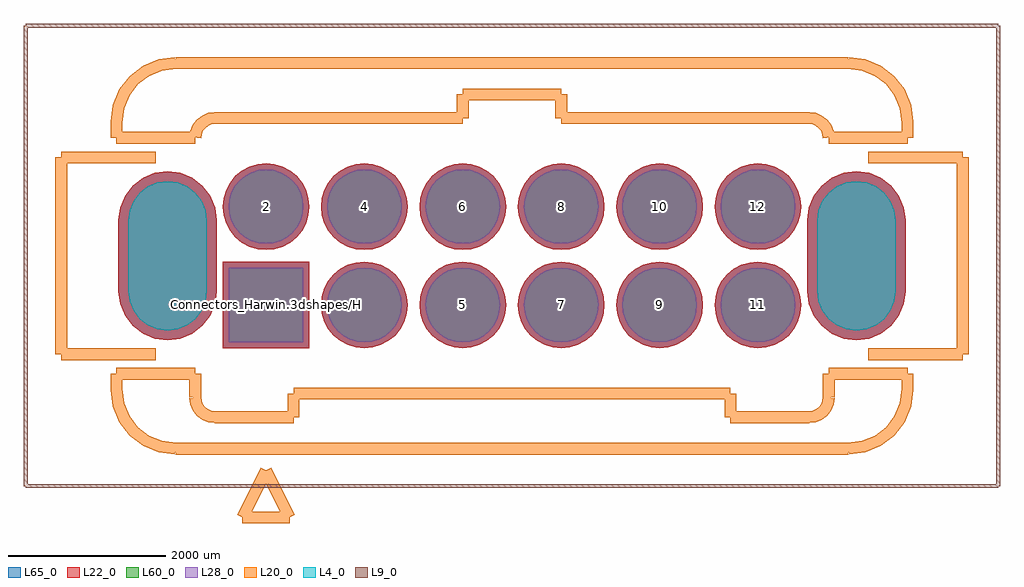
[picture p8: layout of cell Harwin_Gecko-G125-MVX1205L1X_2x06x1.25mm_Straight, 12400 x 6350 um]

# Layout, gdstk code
import gdstk
lib = gdstk.Library(unit=1e-6, precision=1e-09)
def R(c, l, rs):  # rectangles x0, y0, x1, y1
    for r in rs: c.add(gdstk.rectangle(r[:2], r[2:], *l))
def P(c, l, *ps):  # polygons
    for p in ps: c.add(gdstk.Polygon(p, *l))
L4_0 = (4, 0)
L9_0 = (9, 0)
L20_0 = (20, 0)
L22_0 = (22, 0)
L28_0 = (28, 0)
L60_0 = (60, 0)
L65_0 = (65, 0)

harwin_gecko_g125_mvx120 = lib.new_cell('Harwin_Gecko-G125-MVX1205L1X_2x06x1.25mm_Straight')
P(harwin_gecko_g125_mvx120, L4_0, [(7500,-325),(7629.41,-307.963),(7750,-258.013),(7853.553,-178.553),(7933.013,-75),(7982.963,45.59),(8000,175),(8000,1075),(7982.963,1204.41),(7933.013,1325),(7853.553,1428.553),(7750,1508.013),(7629.41,1557.963),(7500,1575),(7370.59,1557.963),(7250,1508.013),(7146.447,1428.553),(7066.987,1325),(7017.037,1204.41),(7000,1075),(7000,175),(7017.037,45.59),(7066.987,-75),(7146.447,-178.553),(7250,-258.013),(7370.59,-307.963)],
  [(-1250,-325),(-1120.59,-307.963),(-1000,-258.013),(-896.447,-178.553),(-816.987,-75),(-767.037,45.59),(-750,175),(-750,1075),(-767.037,1204.41),(-816.987,1325),(-896.447,1428.553),(-1000,1508.013),(-1120.59,1557.963),(-1250,1575),(-1379.41,1557.963),(-1500,1508.013),(-1603.553,1428.553),(-1683.013,1325),(-1732.963,1204.41),(-1750,1075),(-1750,175),(-1732.963,45.59),(-1683.013,-75),(-1603.553,-178.553),(-1500,-258.013),(-1379.41,-307.963)])
R(harwin_gecko_g125_mvx120, L22_0, [(-550,-550,550,550)])
P(harwin_gecko_g125_mvx120, L22_0, [(7500,-450),(7661.762,-428.704),(7812.5,-366.266),(7941.942,-266.942),(8041.266,-137.5),(8103.704,13.238),(8125,175),(8125,1075),(8103.704,1236.762),(8041.266,1387.5),(7941.942,1516.942),(7812.5,1616.266),(7661.762,1678.704),(7500,1700),(7338.238,1678.704),(7187.5,1616.266),(7058.058,1516.942),(6958.734,1387.5),(6896.296,1236.762),(6875,1075),(6875,175),(6896.296,13.238),(6958.734,-137.5),(7058.058,-266.942),(7187.5,-366.266),(7338.238,-428.704)],
  [(-1250,-450),(-1088.238,-428.704),(-937.5,-366.266),(-808.058,-266.942),(-708.734,-137.5),(-646.296,13.238),(-625,175),(-625,1075),(-646.296,1236.762),(-708.734,1387.5),(-808.058,1516.942),(-937.5,1616.266),(-1088.238,1678.704),(-1250,1700),(-1411.762,1678.704),(-1562.5,1616.266),(-1691.942,1516.942),(-1791.266,1387.5),(-1853.704,1236.762),(-1875,1075),(-1875,175),(-1853.704,13.238),(-1791.266,-137.5),(-1691.942,-266.942),(-1562.5,-366.266),(-1411.762,-428.704)],
  [(6800,1250),(6789.432,1357.3),(6758.134,1460.476),(6707.308,1555.564),(6638.909,1638.909),(6555.564,1707.308),(6460.476,1758.134),(6357.3,1789.432),(6250,1800),(6142.7,1789.432),(6039.524,1758.134),(5944.436,1707.308),(5861.091,1638.909),(5792.692,1555.564),(5741.866,1460.476),(5710.568,1357.3),(5700,1250),(5710.568,1142.7),(5741.866,1039.524),(5792.692,944.436),(5861.091,861.091),(5944.436,792.692),(6039.524,741.866),(6142.7,710.568),(6250,700),(6357.3,710.568),(6460.476,741.866),(6555.564,792.692),(6638.909,861.091),(6707.308,944.436),(6758.134,1039.524),(6789.432,1142.7)],
  [(5550,1250),(5539.432,1357.3),(5508.134,1460.476),(5457.308,1555.564),(5388.909,1638.909),(5305.564,1707.308),(5210.476,1758.134),(5107.3,1789.432),(5000,1800),(4892.7,1789.432),(4789.524,1758.134),(4694.436,1707.308),(4611.091,1638.909),(4542.692,1555.564),(4491.866,1460.476),(4460.568,1357.3),(4450,1250),(4460.568,1142.7),(4491.866,1039.524),(4542.692,944.436),(4611.091,861.091),(4694.436,792.692),(4789.524,741.866),(4892.7,710.568),(5000,700),(5107.3,710.568),(5210.476,741.866),(5305.564,792.692),(5388.909,861.091),(5457.308,944.436),(5508.134,1039.524),(5539.432,1142.7)],
  [(4300,1250),(4289.432,1357.3),(4258.134,1460.476),(4207.308,1555.564),(4138.909,1638.909),(4055.564,1707.308),(3960.476,1758.134),(3857.3,1789.432),(3750,1800),(3642.7,1789.432),(3539.524,1758.134),(3444.436,1707.308),(3361.091,1638.909),(3292.692,1555.564),(3241.866,1460.476),(3210.568,1357.3),(3200,1250),(3210.568,1142.7),(3241.866,1039.524),(3292.692,944.436),(3361.091,861.091),(3444.436,792.692),(3539.524,741.866),(3642.7,710.568),(3750,700),(3857.3,710.568),(3960.476,741.866),(4055.564,792.692),(4138.909,861.091),(4207.308,944.436),(4258.134,1039.524),(4289.432,1142.7)],
  [(3050,1250),(3039.432,1357.3),(3008.134,1460.476),(2957.308,1555.564),(2888.909,1638.909),(2805.564,1707.308),(2710.476,1758.134),(2607.3,1789.432),(2500,1800),(2392.7,1789.432),(2289.524,1758.134),(2194.436,1707.308),(2111.091,1638.909),(2042.692,1555.564),(1991.866,1460.476),(1960.568,1357.3),(1950,1250),(1960.568,1142.7),(1991.866,1039.524),(2042.692,944.436),(2111.091,861.091),(2194.436,792.692),(2289.524,741.866),(2392.7,710.568),(2500,700),(2607.3,710.568),(2710.476,741.866),(2805.564,792.692),(2888.909,861.091),(2957.308,944.436),(3008.134,1039.524),(3039.432,1142.7)],
  [(1800,1250),(1789.432,1357.3),(1758.134,1460.476),(1707.308,1555.564),(1638.909,1638.909),(1555.564,1707.308),(1460.476,1758.134),(1357.3,1789.432),(1250,1800),(1142.7,1789.432),(1039.524,1758.134),(944.436,1707.308),(861.091,1638.909),(792.692,1555.564),(741.866,1460.476),(710.568,1357.3),(700,1250),(710.568,1142.7),(741.866,1039.524),(792.692,944.436),(861.091,861.091),(944.436,792.692),(1039.524,741.866),(1142.7,710.568),(1250,700),(1357.3,710.568),(1460.476,741.866),(1555.564,792.692),(1638.909,861.091),(1707.308,944.436),(1758.134,1039.524),(1789.432,1142.7)],
  [(550,1250),(539.432,1357.3),(508.134,1460.476),(457.308,1555.564),(388.909,1638.909),(305.564,1707.308),(210.476,1758.134),(107.3,1789.432),(0,1800),(-107.3,1789.432),(-210.476,1758.134),(-305.564,1707.308),(-388.909,1638.909),(-457.308,1555.564),(-508.134,1460.476),(-539.432,1357.3),(-550,1250),(-539.432,1142.7),(-508.134,1039.524),(-457.308,944.436),(-388.909,861.091),(-305.564,792.692),(-210.476,741.866),(-107.3,710.568),(0,700),(107.3,710.568),(210.476,741.866),(305.564,792.692),(388.909,861.091),(457.308,944.436),(508.134,1039.524),(539.432,1142.7)],
  [(6800,0),(6789.432,107.3),(6758.134,210.476),(6707.308,305.564),(6638.909,388.909),(6555.564,457.308),(6460.476,508.134),(6357.3,539.432),(6250,550),(6142.7,539.432),(6039.524,508.134),(5944.436,457.308),(5861.091,388.909),(5792.692,305.564),(5741.866,210.476),(5710.568,107.3),(5700,0),(5710.568,-107.3),(5741.866,-210.476),(5792.692,-305.564),(5861.091,-388.909),(5944.436,-457.308),(6039.524,-508.134),(6142.7,-539.432),(6250,-550),(6357.3,-539.432),(6460.476,-508.134),(6555.564,-457.308),(6638.909,-388.909),(6707.308,-305.564),(6758.134,-210.476),(6789.432,-107.3)],
  [(5550,0),(5539.432,107.3),(5508.134,210.476),(5457.308,305.564),(5388.909,388.909),(5305.564,457.308),(5210.476,508.134),(5107.3,539.432),(5000,550),(4892.7,539.432),(4789.524,508.134),(4694.436,457.308),(4611.091,388.909),(4542.692,305.564),(4491.866,210.476),(4460.568,107.3),(4450,0),(4460.568,-107.3),(4491.866,-210.476),(4542.692,-305.564),(4611.091,-388.909),(4694.436,-457.308),(4789.524,-508.134),(4892.7,-539.432),(5000,-550),(5107.3,-539.432),(5210.476,-508.134),(5305.564,-457.308),(5388.909,-388.909),(5457.308,-305.564),(5508.134,-210.476),(5539.432,-107.3)],
  [(4300,0),(4289.432,107.3),(4258.134,210.476),(4207.308,305.564),(4138.909,388.909),(4055.564,457.308),(3960.476,508.134),(3857.3,539.432),(3750,550),(3642.7,539.432),(3539.524,508.134),(3444.436,457.308),(3361.091,388.909),(3292.692,305.564),(3241.866,210.476),(3210.568,107.3),(3200,0),(3210.568,-107.3),(3241.866,-210.476),(3292.692,-305.564),(3361.091,-388.909),(3444.436,-457.308),(3539.524,-508.134),(3642.7,-539.432),(3750,-550),(3857.3,-539.432),(3960.476,-508.134),(4055.564,-457.308),(4138.909,-388.909),(4207.308,-305.564),(4258.134,-210.476),(4289.432,-107.3)],
  [(3050,0),(3039.432,107.3),(3008.134,210.476),(2957.308,305.564),(2888.909,388.909),(2805.564,457.308),(2710.476,508.134),(2607.3,539.432),(2500,550),(2392.7,539.432),(2289.524,508.134),(2194.436,457.308),(2111.091,388.909),(2042.692,305.564),(1991.866,210.476),(1960.568,107.3),(1950,0),(1960.568,-107.3),(1991.866,-210.476),(2042.692,-305.564),(2111.091,-388.909),(2194.436,-457.308),(2289.524,-508.134),(2392.7,-539.432),(2500,-550),(2607.3,-539.432),(2710.476,-508.134),(2805.564,-457.308),(2888.909,-388.909),(2957.308,-305.564),(3008.134,-210.476),(3039.432,-107.3)],
  [(1800,0),(1789.432,107.3),(1758.134,210.476),(1707.308,305.564),(1638.909,388.909),(1555.564,457.308),(1460.476,508.134),(1357.3,539.432),(1250,550),(1142.7,539.432),(1039.524,508.134),(944.436,457.308),(861.091,388.909),(792.692,305.564),(741.866,210.476),(710.568,107.3),(700,0),(710.568,-107.3),(741.866,-210.476),(792.692,-305.564),(861.091,-388.909),(944.436,-457.308),(1039.524,-508.134),(1142.7,-539.432),(1250,-550),(1357.3,-539.432),(1460.476,-508.134),(1555.564,-457.308),(1638.909,-388.909),(1707.308,-305.564),(1758.134,-210.476),(1789.432,-107.3)])
R(harwin_gecko_g125_mvx120, L28_0, [(-475,-475,475,475)])
P(harwin_gecko_g125_mvx120, L28_0, [(6725,1250),(6715.873,1342.668),(6688.843,1431.775),(6644.948,1513.896),(6585.876,1585.876),(6513.896,1644.948),(6431.775,1688.843),(6342.668,1715.873),(6250,1725),(6157.332,1715.873),(6068.225,1688.843),(5986.104,1644.948),(5914.124,1585.876),(5855.052,1513.896),(5811.157,1431.775),(5784.127,1342.668),(5775,1250),(5784.127,1157.332),(5811.157,1068.225),(5855.052,986.104),(5914.124,914.124),(5986.104,855.052),(6068.225,811.157),(6157.332,784.127),(6250,775),(6342.668,784.127),(6431.775,811.157),(6513.896,855.052),(6585.876,914.124),(6644.948,986.104),(6688.843,1068.225),(6715.873,1157.332)],
  [(5475,1250),(5465.873,1342.668),(5438.843,1431.775),(5394.948,1513.896),(5335.876,1585.876),(5263.896,1644.948),(5181.775,1688.843),(5092.668,1715.873),(5000,1725),(4907.332,1715.873),(4818.225,1688.843),(4736.104,1644.948),(4664.124,1585.876),(4605.052,1513.896),(4561.157,1431.775),(4534.127,1342.668),(4525,1250),(4534.127,1157.332),(4561.157,1068.225),(4605.052,986.104),(4664.124,914.124),(4736.104,855.052),(4818.225,811.157),(4907.332,784.127),(5000,775),(5092.668,784.127),(5181.775,811.157),(5263.896,855.052),(5335.876,914.124),(5394.948,986.104),(5438.843,1068.225),(5465.873,1157.332)],
  [(4225,1250),(4215.873,1342.668),(4188.843,1431.775),(4144.948,1513.896),(4085.876,1585.876),(4013.896,1644.948),(3931.775,1688.843),(3842.668,1715.873),(3750,1725),(3657.332,1715.873),(3568.225,1688.843),(3486.104,1644.948),(3414.124,1585.876),(3355.052,1513.896),(3311.157,1431.775),(3284.127,1342.668),(3275,1250),(3284.127,1157.332),(3311.157,1068.225),(3355.052,986.104),(3414.124,914.124),(3486.104,855.052),(3568.225,811.157),(3657.332,784.127),(3750,775),(3842.668,784.127),(3931.775,811.157),(4013.896,855.052),(4085.876,914.124),(4144.948,986.104),(4188.843,1068.225),(4215.873,1157.332)],
  [(2975,1250),(2965.873,1342.668),(2938.843,1431.775),(2894.948,1513.896),(2835.876,1585.876),(2763.896,1644.948),(2681.775,1688.843),(2592.668,1715.873),(2500,1725),(2407.332,1715.873),(2318.225,1688.843),(2236.104,1644.948),(2164.124,1585.876),(2105.052,1513.896),(2061.157,1431.775),(2034.127,1342.668),(2025,1250),(2034.127,1157.332),(2061.157,1068.225),(2105.052,986.104),(2164.124,914.124),(2236.104,855.052),(2318.225,811.157),(2407.332,784.127),(2500,775),(2592.668,784.127),(2681.775,811.157),(2763.896,855.052),(2835.876,914.124),(2894.948,986.104),(2938.843,1068.225),(2965.873,1157.332)],
  [(1725,1250),(1715.873,1342.668),(1688.843,1431.775),(1644.948,1513.896),(1585.876,1585.876),(1513.896,1644.948),(1431.775,1688.843),(1342.668,1715.873),(1250,1725),(1157.332,1715.873),(1068.225,1688.843),(986.104,1644.948),(914.124,1585.876),(855.052,1513.896),(811.157,1431.775),(784.127,1342.668),(775,1250),(784.127,1157.332),(811.157,1068.225),(855.052,986.104),(914.124,914.124),(986.104,855.052),(1068.225,811.157),(1157.332,784.127),(1250,775),(1342.668,784.127),(1431.775,811.157),(1513.896,855.052),(1585.876,914.124),(1644.948,986.104),(1688.843,1068.225),(1715.873,1157.332)],
  [(475,1250),(465.873,1342.668),(438.843,1431.775),(394.948,1513.896),(335.876,1585.876),(263.896,1644.948),(181.775,1688.843),(92.668,1715.873),(0,1725),(-92.668,1715.873),(-181.775,1688.843),(-263.896,1644.948),(-335.876,1585.876),(-394.948,1513.896),(-438.843,1431.775),(-465.873,1342.668),(-475,1250),(-465.873,1157.332),(-438.843,1068.225),(-394.948,986.104),(-335.876,914.124),(-263.896,855.052),(-181.775,811.157),(-92.668,784.127),(0,775),(92.668,784.127),(181.775,811.157),(263.896,855.052),(335.876,914.124),(394.948,986.104),(438.843,1068.225),(465.873,1157.332)],
  [(6725,0),(6715.873,92.668),(6688.843,181.775),(6644.948,263.896),(6585.876,335.876),(6513.896,394.948),(6431.775,438.843),(6342.668,465.873),(6250,475),(6157.332,465.873),(6068.225,438.843),(5986.104,394.948),(5914.124,335.876),(5855.052,263.896),(5811.157,181.775),(5784.127,92.668),(5775,0),(5784.127,-92.668),(5811.157,-181.775),(5855.052,-263.896),(5914.124,-335.876),(5986.104,-394.948),(6068.225,-438.843),(6157.332,-465.873),(6250,-475),(6342.668,-465.873),(6431.775,-438.843),(6513.896,-394.948),(6585.876,-335.876),(6644.948,-263.896),(6688.843,-181.775),(6715.873,-92.668)],
  [(5475,0),(5465.873,92.668),(5438.843,181.775),(5394.948,263.896),(5335.876,335.876),(5263.896,394.948),(5181.775,438.843),(5092.668,465.873),(5000,475),(4907.332,465.873),(4818.225,438.843),(4736.104,394.948),(4664.124,335.876),(4605.052,263.896),(4561.157,181.775),(4534.127,92.668),(4525,0),(4534.127,-92.668),(4561.157,-181.775),(4605.052,-263.896),(4664.124,-335.876),(4736.104,-394.948),(4818.225,-438.843),(4907.332,-465.873),(5000,-475),(5092.668,-465.873),(5181.775,-438.843),(5263.896,-394.948),(5335.876,-335.876),(5394.948,-263.896),(5438.843,-181.775),(5465.873,-92.668)],
  [(4225,0),(4215.873,92.668),(4188.843,181.775),(4144.948,263.896),(4085.876,335.876),(4013.896,394.948),(3931.775,438.843),(3842.668,465.873),(3750,475),(3657.332,465.873),(3568.225,438.843),(3486.104,394.948),(3414.124,335.876),(3355.052,263.896),(3311.157,181.775),(3284.127,92.668),(3275,0),(3284.127,-92.668),(3311.157,-181.775),(3355.052,-263.896),(3414.124,-335.876),(3486.104,-394.948),(3568.225,-438.843),(3657.332,-465.873),(3750,-475),(3842.668,-465.873),(3931.775,-438.843),(4013.896,-394.948),(4085.876,-335.876),(4144.948,-263.896),(4188.843,-181.775),(4215.873,-92.668)],
  [(2975,0),(2965.873,92.668),(2938.843,181.775),(2894.948,263.896),(2835.876,335.876),(2763.896,394.948),(2681.775,438.843),(2592.668,465.873),(2500,475),(2407.332,465.873),(2318.225,438.843),(2236.104,394.948),(2164.124,335.876),(2105.052,263.896),(2061.157,181.775),(2034.127,92.668),(2025,0),(2034.127,-92.668),(2061.157,-181.775),(2105.052,-263.896),(2164.124,-335.876),(2236.104,-394.948),(2318.225,-438.843),(2407.332,-465.873),(2500,-475),(2592.668,-465.873),(2681.775,-438.843),(2763.896,-394.948),(2835.876,-335.876),(2894.948,-263.896),(2938.843,-181.775),(2965.873,-92.668)],
  [(1725,0),(1715.873,92.668),(1688.843,181.775),(1644.948,263.896),(1585.876,335.876),(1513.896,394.948),(1431.775,438.843),(1342.668,465.873),(1250,475),(1157.332,465.873),(1068.225,438.843),(986.104,394.948),(914.124,335.876),(855.052,263.896),(811.157,181.775),(784.127,92.668),(775,0),(784.127,-92.668),(811.157,-181.775),(855.052,-263.896),(914.124,-335.876),(986.104,-394.948),(1068.225,-438.843),(1157.332,-465.873),(1250,-475),(1342.668,-465.873),(1431.775,-438.843),(1513.896,-394.948),(1585.876,-335.876),(1644.948,-263.896),(1688.843,-181.775),(1715.873,-92.668)])
R(harwin_gecko_g125_mvx120, L60_0, [(-475,-475,475,475)])
P(harwin_gecko_g125_mvx120, L60_0, [(6725,1250),(6715.873,1342.668),(6688.843,1431.775),(6644.948,1513.896),(6585.876,1585.876),(6513.896,1644.948),(6431.775,1688.843),(6342.668,1715.873),(6250,1725),(6157.332,1715.873),(6068.225,1688.843),(5986.104,1644.948),(5914.124,1585.876),(5855.052,1513.896),(5811.157,1431.775),(5784.127,1342.668),(5775,1250),(5784.127,1157.332),(5811.157,1068.225),(5855.052,986.104),(5914.124,914.124),(5986.104,855.052),(6068.225,811.157),(6157.332,784.127),(6250,775),(6342.668,784.127),(6431.775,811.157),(6513.896,855.052),(6585.876,914.124),(6644.948,986.104),(6688.843,1068.225),(6715.873,1157.332)],
  [(5475,1250),(5465.873,1342.668),(5438.843,1431.775),(5394.948,1513.896),(5335.876,1585.876),(5263.896,1644.948),(5181.775,1688.843),(5092.668,1715.873),(5000,1725),(4907.332,1715.873),(4818.225,1688.843),(4736.104,1644.948),(4664.124,1585.876),(4605.052,1513.896),(4561.157,1431.775),(4534.127,1342.668),(4525,1250),(4534.127,1157.332),(4561.157,1068.225),(4605.052,986.104),(4664.124,914.124),(4736.104,855.052),(4818.225,811.157),(4907.332,784.127),(5000,775),(5092.668,784.127),(5181.775,811.157),(5263.896,855.052),(5335.876,914.124),(5394.948,986.104),(5438.843,1068.225),(5465.873,1157.332)],
  [(4225,1250),(4215.873,1342.668),(4188.843,1431.775),(4144.948,1513.896),(4085.876,1585.876),(4013.896,1644.948),(3931.775,1688.843),(3842.668,1715.873),(3750,1725),(3657.332,1715.873),(3568.225,1688.843),(3486.104,1644.948),(3414.124,1585.876),(3355.052,1513.896),(3311.157,1431.775),(3284.127,1342.668),(3275,1250),(3284.127,1157.332),(3311.157,1068.225),(3355.052,986.104),(3414.124,914.124),(3486.104,855.052),(3568.225,811.157),(3657.332,784.127),(3750,775),(3842.668,784.127),(3931.775,811.157),(4013.896,855.052),(4085.876,914.124),(4144.948,986.104),(4188.843,1068.225),(4215.873,1157.332)],
  [(2975,1250),(2965.873,1342.668),(2938.843,1431.775),(2894.948,1513.896),(2835.876,1585.876),(2763.896,1644.948),(2681.775,1688.843),(2592.668,1715.873),(2500,1725),(2407.332,1715.873),(2318.225,1688.843),(2236.104,1644.948),(2164.124,1585.876),(2105.052,1513.896),(2061.157,1431.775),(2034.127,1342.668),(2025,1250),(2034.127,1157.332),(2061.157,1068.225),(2105.052,986.104),(2164.124,914.124),(2236.104,855.052),(2318.225,811.157),(2407.332,784.127),(2500,775),(2592.668,784.127),(2681.775,811.157),(2763.896,855.052),(2835.876,914.124),(2894.948,986.104),(2938.843,1068.225),(2965.873,1157.332)],
  [(1725,1250),(1715.873,1342.668),(1688.843,1431.775),(1644.948,1513.896),(1585.876,1585.876),(1513.896,1644.948),(1431.775,1688.843),(1342.668,1715.873),(1250,1725),(1157.332,1715.873),(1068.225,1688.843),(986.104,1644.948),(914.124,1585.876),(855.052,1513.896),(811.157,1431.775),(784.127,1342.668),(775,1250),(784.127,1157.332),(811.157,1068.225),(855.052,986.104),(914.124,914.124),(986.104,855.052),(1068.225,811.157),(1157.332,784.127),(1250,775),(1342.668,784.127),(1431.775,811.157),(1513.896,855.052),(1585.876,914.124),(1644.948,986.104),(1688.843,1068.225),(1715.873,1157.332)],
  [(475,1250),(465.873,1342.668),(438.843,1431.775),(394.948,1513.896),(335.876,1585.876),(263.896,1644.948),(181.775,1688.843),(92.668,1715.873),(0,1725),(-92.668,1715.873),(-181.775,1688.843),(-263.896,1644.948),(-335.876,1585.876),(-394.948,1513.896),(-438.843,1431.775),(-465.873,1342.668),(-475,1250),(-465.873,1157.332),(-438.843,1068.225),(-394.948,986.104),(-335.876,914.124),(-263.896,855.052),(-181.775,811.157),(-92.668,784.127),(0,775),(92.668,784.127),(181.775,811.157),(263.896,855.052),(335.876,914.124),(394.948,986.104),(438.843,1068.225),(465.873,1157.332)],
  [(6725,0),(6715.873,92.668),(6688.843,181.775),(6644.948,263.896),(6585.876,335.876),(6513.896,394.948),(6431.775,438.843),(6342.668,465.873),(6250,475),(6157.332,465.873),(6068.225,438.843),(5986.104,394.948),(5914.124,335.876),(5855.052,263.896),(5811.157,181.775),(5784.127,92.668),(5775,0),(5784.127,-92.668),(5811.157,-181.775),(5855.052,-263.896),(5914.124,-335.876),(5986.104,-394.948),(6068.225,-438.843),(6157.332,-465.873),(6250,-475),(6342.668,-465.873),(6431.775,-438.843),(6513.896,-394.948),(6585.876,-335.876),(6644.948,-263.896),(6688.843,-181.775),(6715.873,-92.668)],
  [(5475,0),(5465.873,92.668),(5438.843,181.775),(5394.948,263.896),(5335.876,335.876),(5263.896,394.948),(5181.775,438.843),(5092.668,465.873),(5000,475),(4907.332,465.873),(4818.225,438.843),(4736.104,394.948),(4664.124,335.876),(4605.052,263.896),(4561.157,181.775),(4534.127,92.668),(4525,0),(4534.127,-92.668),(4561.157,-181.775),(4605.052,-263.896),(4664.124,-335.876),(4736.104,-394.948),(4818.225,-438.843),(4907.332,-465.873),(5000,-475),(5092.668,-465.873),(5181.775,-438.843),(5263.896,-394.948),(5335.876,-335.876),(5394.948,-263.896),(5438.843,-181.775),(5465.873,-92.668)],
  [(4225,0),(4215.873,92.668),(4188.843,181.775),(4144.948,263.896),(4085.876,335.876),(4013.896,394.948),(3931.775,438.843),(3842.668,465.873),(3750,475),(3657.332,465.873),(3568.225,438.843),(3486.104,394.948),(3414.124,335.876),(3355.052,263.896),(3311.157,181.775),(3284.127,92.668),(3275,0),(3284.127,-92.668),(3311.157,-181.775),(3355.052,-263.896),(3414.124,-335.876),(3486.104,-394.948),(3568.225,-438.843),(3657.332,-465.873),(3750,-475),(3842.668,-465.873),(3931.775,-438.843),(4013.896,-394.948),(4085.876,-335.876),(4144.948,-263.896),(4188.843,-181.775),(4215.873,-92.668)],
  [(2975,0),(2965.873,92.668),(2938.843,181.775),(2894.948,263.896),(2835.876,335.876),(2763.896,394.948),(2681.775,438.843),(2592.668,465.873),(2500,475),(2407.332,465.873),(2318.225,438.843),(2236.104,394.948),(2164.124,335.876),(2105.052,263.896),(2061.157,181.775),(2034.127,92.668),(2025,0),(2034.127,-92.668),(2061.157,-181.775),(2105.052,-263.896),(2164.124,-335.876),(2236.104,-394.948),(2318.225,-438.843),(2407.332,-465.873),(2500,-475),(2592.668,-465.873),(2681.775,-438.843),(2763.896,-394.948),(2835.876,-335.876),(2894.948,-263.896),(2938.843,-181.775),(2965.873,-92.668)],
  [(1725,0),(1715.873,92.668),(1688.843,181.775),(1644.948,263.896),(1585.876,335.876),(1513.896,394.948),(1431.775,438.843),(1342.668,465.873),(1250,475),(1157.332,465.873),(1068.225,438.843),(986.104,394.948),(914.124,335.876),(855.052,263.896),(811.157,181.775),(784.127,92.668),(775,0),(784.127,-92.668),(811.157,-181.775),(855.052,-263.896),(914.124,-335.876),(986.104,-394.948),(1068.225,-438.843),(1157.332,-465.873),(1250,-475),(1342.668,-465.873),(1431.775,-438.843),(1513.896,-394.948),(1585.876,-335.876),(1644.948,-263.896),(1688.843,-181.775),(1715.873,-92.668)])
R(harwin_gecko_g125_mvx120, L65_0, [(-550,-550,550,550)])
P(harwin_gecko_g125_mvx120, L65_0, [(7500,-450),(7661.762,-428.704),(7812.5,-366.266),(7941.942,-266.942),(8041.266,-137.5),(8103.704,13.238),(8125,175),(8125,1075),(8103.704,1236.762),(8041.266,1387.5),(7941.942,1516.942),(7812.5,1616.266),(7661.762,1678.704),(7500,1700),(7338.238,1678.704),(7187.5,1616.266),(7058.058,1516.942),(6958.734,1387.5),(6896.296,1236.762),(6875,1075),(6875,175),(6896.296,13.238),(6958.734,-137.5),(7058.058,-266.942),(7187.5,-366.266),(7338.238,-428.704)],
  [(-1250,-450),(-1088.238,-428.704),(-937.5,-366.266),(-808.058,-266.942),(-708.734,-137.5),(-646.296,13.238),(-625,175),(-625,1075),(-646.296,1236.762),(-708.734,1387.5),(-808.058,1516.942),(-937.5,1616.266),(-1088.238,1678.704),(-1250,1700),(-1411.762,1678.704),(-1562.5,1616.266),(-1691.942,1516.942),(-1791.266,1387.5),(-1853.704,1236.762),(-1875,1075),(-1875,175),(-1853.704,13.238),(-1791.266,-137.5),(-1691.942,-266.942),(-1562.5,-366.266),(-1411.762,-428.704)],
  [(6800,1250),(6789.432,1357.3),(6758.134,1460.476),(6707.308,1555.564),(6638.909,1638.909),(6555.564,1707.308),(6460.476,1758.134),(6357.3,1789.432),(6250,1800),(6142.7,1789.432),(6039.524,1758.134),(5944.436,1707.308),(5861.091,1638.909),(5792.692,1555.564),(5741.866,1460.476),(5710.568,1357.3),(5700,1250),(5710.568,1142.7),(5741.866,1039.524),(5792.692,944.436),(5861.091,861.091),(5944.436,792.692),(6039.524,741.866),(6142.7,710.568),(6250,700),(6357.3,710.568),(6460.476,741.866),(6555.564,792.692),(6638.909,861.091),(6707.308,944.436),(6758.134,1039.524),(6789.432,1142.7)],
  [(5550,1250),(5539.432,1357.3),(5508.134,1460.476),(5457.308,1555.564),(5388.909,1638.909),(5305.564,1707.308),(5210.476,1758.134),(5107.3,1789.432),(5000,1800),(4892.7,1789.432),(4789.524,1758.134),(4694.436,1707.308),(4611.091,1638.909),(4542.692,1555.564),(4491.866,1460.476),(4460.568,1357.3),(4450,1250),(4460.568,1142.7),(4491.866,1039.524),(4542.692,944.436),(4611.091,861.091),(4694.436,792.692),(4789.524,741.866),(4892.7,710.568),(5000,700),(5107.3,710.568),(5210.476,741.866),(5305.564,792.692),(5388.909,861.091),(5457.308,944.436),(5508.134,1039.524),(5539.432,1142.7)],
  [(4300,1250),(4289.432,1357.3),(4258.134,1460.476),(4207.308,1555.564),(4138.909,1638.909),(4055.564,1707.308),(3960.476,1758.134),(3857.3,1789.432),(3750,1800),(3642.7,1789.432),(3539.524,1758.134),(3444.436,1707.308),(3361.091,1638.909),(3292.692,1555.564),(3241.866,1460.476),(3210.568,1357.3),(3200,1250),(3210.568,1142.7),(3241.866,1039.524),(3292.692,944.436),(3361.091,861.091),(3444.436,792.692),(3539.524,741.866),(3642.7,710.568),(3750,700),(3857.3,710.568),(3960.476,741.866),(4055.564,792.692),(4138.909,861.091),(4207.308,944.436),(4258.134,1039.524),(4289.432,1142.7)],
  [(3050,1250),(3039.432,1357.3),(3008.134,1460.476),(2957.308,1555.564),(2888.909,1638.909),(2805.564,1707.308),(2710.476,1758.134),(2607.3,1789.432),(2500,1800),(2392.7,1789.432),(2289.524,1758.134),(2194.436,1707.308),(2111.091,1638.909),(2042.692,1555.564),(1991.866,1460.476),(1960.568,1357.3),(1950,1250),(1960.568,1142.7),(1991.866,1039.524),(2042.692,944.436),(2111.091,861.091),(2194.436,792.692),(2289.524,741.866),(2392.7,710.568),(2500,700),(2607.3,710.568),(2710.476,741.866),(2805.564,792.692),(2888.909,861.091),(2957.308,944.436),(3008.134,1039.524),(3039.432,1142.7)],
  [(1800,1250),(1789.432,1357.3),(1758.134,1460.476),(1707.308,1555.564),(1638.909,1638.909),(1555.564,1707.308),(1460.476,1758.134),(1357.3,1789.432),(1250,1800),(1142.7,1789.432),(1039.524,1758.134),(944.436,1707.308),(861.091,1638.909),(792.692,1555.564),(741.866,1460.476),(710.568,1357.3),(700,1250),(710.568,1142.7),(741.866,1039.524),(792.692,944.436),(861.091,861.091),(944.436,792.692),(1039.524,741.866),(1142.7,710.568),(1250,700),(1357.3,710.568),(1460.476,741.866),(1555.564,792.692),(1638.909,861.091),(1707.308,944.436),(1758.134,1039.524),(1789.432,1142.7)],
  [(550,1250),(539.432,1357.3),(508.134,1460.476),(457.308,1555.564),(388.909,1638.909),(305.564,1707.308),(210.476,1758.134),(107.3,1789.432),(0,1800),(-107.3,1789.432),(-210.476,1758.134),(-305.564,1707.308),(-388.909,1638.909),(-457.308,1555.564),(-508.134,1460.476),(-539.432,1357.3),(-550,1250),(-539.432,1142.7),(-508.134,1039.524),(-457.308,944.436),(-388.909,861.091),(-305.564,792.692),(-210.476,741.866),(-107.3,710.568),(0,700),(107.3,710.568),(210.476,741.866),(305.564,792.692),(388.909,861.091),(457.308,944.436),(508.134,1039.524),(539.432,1142.7)],
  [(6800,0),(6789.432,107.3),(6758.134,210.476),(6707.308,305.564),(6638.909,388.909),(6555.564,457.308),(6460.476,508.134),(6357.3,539.432),(6250,550),(6142.7,539.432),(6039.524,508.134),(5944.436,457.308),(5861.091,388.909),(5792.692,305.564),(5741.866,210.476),(5710.568,107.3),(5700,0),(5710.568,-107.3),(5741.866,-210.476),(5792.692,-305.564),(5861.091,-388.909),(5944.436,-457.308),(6039.524,-508.134),(6142.7,-539.432),(6250,-550),(6357.3,-539.432),(6460.476,-508.134),(6555.564,-457.308),(6638.909,-388.909),(6707.308,-305.564),(6758.134,-210.476),(6789.432,-107.3)],
  [(5550,0),(5539.432,107.3),(5508.134,210.476),(5457.308,305.564),(5388.909,388.909),(5305.564,457.308),(5210.476,508.134),(5107.3,539.432),(5000,550),(4892.7,539.432),(4789.524,508.134),(4694.436,457.308),(4611.091,388.909),(4542.692,305.564),(4491.866,210.476),(4460.568,107.3),(4450,0),(4460.568,-107.3),(4491.866,-210.476),(4542.692,-305.564),(4611.091,-388.909),(4694.436,-457.308),(4789.524,-508.134),(4892.7,-539.432),(5000,-550),(5107.3,-539.432),(5210.476,-508.134),(5305.564,-457.308),(5388.909,-388.909),(5457.308,-305.564),(5508.134,-210.476),(5539.432,-107.3)],
  [(4300,0),(4289.432,107.3),(4258.134,210.476),(4207.308,305.564),(4138.909,388.909),(4055.564,457.308),(3960.476,508.134),(3857.3,539.432),(3750,550),(3642.7,539.432),(3539.524,508.134),(3444.436,457.308),(3361.091,388.909),(3292.692,305.564),(3241.866,210.476),(3210.568,107.3),(3200,0),(3210.568,-107.3),(3241.866,-210.476),(3292.692,-305.564),(3361.091,-388.909),(3444.436,-457.308),(3539.524,-508.134),(3642.7,-539.432),(3750,-550),(3857.3,-539.432),(3960.476,-508.134),(4055.564,-457.308),(4138.909,-388.909),(4207.308,-305.564),(4258.134,-210.476),(4289.432,-107.3)],
  [(3050,0),(3039.432,107.3),(3008.134,210.476),(2957.308,305.564),(2888.909,388.909),(2805.564,457.308),(2710.476,508.134),(2607.3,539.432),(2500,550),(2392.7,539.432),(2289.524,508.134),(2194.436,457.308),(2111.091,388.909),(2042.692,305.564),(1991.866,210.476),(1960.568,107.3),(1950,0),(1960.568,-107.3),(1991.866,-210.476),(2042.692,-305.564),(2111.091,-388.909),(2194.436,-457.308),(2289.524,-508.134),(2392.7,-539.432),(2500,-550),(2607.3,-539.432),(2710.476,-508.134),(2805.564,-457.308),(2888.909,-388.909),(2957.308,-305.564),(3008.134,-210.476),(3039.432,-107.3)],
  [(1800,0),(1789.432,107.3),(1758.134,210.476),(1707.308,305.564),(1638.909,388.909),(1555.564,457.308),(1460.476,508.134),(1357.3,539.432),(1250,550),(1142.7,539.432),(1039.524,508.134),(944.436,457.308),(861.091,388.909),(792.692,305.564),(741.866,210.476),(710.568,107.3),(700,0),(710.568,-107.3),(741.866,-210.476),(792.692,-305.564),(861.091,-388.909),(944.436,-457.308),(1039.524,-508.134),(1142.7,-539.432),(1250,-550),(1357.3,-539.432),(1460.476,-508.134),(1555.564,-457.308),(1638.909,-388.909),(1707.308,-305.564),(1758.134,-210.476),(1789.432,-107.3)])
harwin_gecko_g125_mvx120.add(gdstk.FlexPath([(300,-2700),(0,-2100)], 149.998, ends="flush", simple_path=True, layer=20, datatype=0))  # L20_0
harwin_gecko_g125_mvx120.add(gdstk.FlexPath([(-300,-2700),(300,-2700)], 149.998, ends="flush", simple_path=True, layer=20, datatype=0))  # L20_0
harwin_gecko_g125_mvx120.add(gdstk.FlexPath([(0,-2100),(-300,-2700)], 149.998, ends="flush", simple_path=True, layer=20, datatype=0))  # L20_0
harwin_gecko_g125_mvx120.add(gdstk.FlexPath([(9300,3550),(-3050,3550)], 50, ends="flush", simple_path=True, layer=9, datatype=0))  # L9_0
harwin_gecko_g125_mvx120.add(gdstk.FlexPath([(9300,-2300),(9300,3550)], 50, ends="flush", simple_path=True, layer=9, datatype=0))  # L9_0
harwin_gecko_g125_mvx120.add(gdstk.FlexPath([(-3050,-2300),(9300,-2300)], 50, ends="flush", simple_path=True, layer=9, datatype=0))  # L9_0
harwin_gecko_g125_mvx120.add(gdstk.FlexPath([(-3050,3550),(-3050,-2300)], 50, ends="flush", simple_path=True, layer=9, datatype=0))  # L9_0
harwin_gecko_g125_mvx120.add(gdstk.FlexPath([(8850,-625),(7650,-625)], 149.998, ends="flush", simple_path=True, layer=20, datatype=0))  # L20_0
harwin_gecko_g125_mvx120.add(gdstk.FlexPath([(8850,1875),(8850,-625)], 149.998, ends="flush", simple_path=True, layer=20, datatype=0))  # L20_0
harwin_gecko_g125_mvx120.add(gdstk.FlexPath([(7650,1875),(8850,1875)], 149.998, ends="flush", simple_path=True, layer=20, datatype=0))  # L20_0
harwin_gecko_g125_mvx120.add(gdstk.FlexPath([(-2600,-625),(-1400,-625)], 149.998, ends="flush", simple_path=True, layer=20, datatype=0))  # L20_0
harwin_gecko_g125_mvx120.add(gdstk.FlexPath([(-2600,1875),(-2600,-625)], 149.998, ends="flush", simple_path=True, layer=20, datatype=0))  # L20_0
harwin_gecko_g125_mvx120.add(gdstk.FlexPath([(-1400,1875),(-2600,1875)], 149.998, ends="flush", simple_path=True, layer=20, datatype=0))  # L20_0
harwin_gecko_g125_mvx120.add(gdstk.FlexPath([(7150,-1175),(7150,-875)], 149.998, ends="flush", simple_path=True, layer=20, datatype=0))  # L20_0
harwin_gecko_g125_mvx120.add(gdstk.FlexPath([(-900,-1175),(-900,-875)], 149.998, ends="flush", simple_path=True, layer=20, datatype=0))  # L20_0
harwin_gecko_g125_mvx120.add(gdstk.FlexPath([(-900,-875),(-900,-875)], 149.998, ends="flush", simple_path=True, layer=20, datatype=0))  # L20_0
harwin_gecko_g125_mvx120.add(gdstk.FlexPath([(-1900,-875),(-900,-875)], 149.998, ends="flush", simple_path=True, layer=20, datatype=0))  # L20_0
harwin_gecko_g125_mvx120.add(gdstk.FlexPath([(-1900,-1075),(-1900,-875)], 149.998, ends="flush", simple_path=True, layer=20, datatype=0))  # L20_0
harwin_gecko_g125_mvx120.add(gdstk.FlexPath([(7150,-875),(7150,-875)], 149.998, ends="flush", simple_path=True, layer=20, datatype=0))  # L20_0
harwin_gecko_g125_mvx120.add(gdstk.FlexPath([(8150,-875),(7150,-875)], 149.998, ends="flush", simple_path=True, layer=20, datatype=0))  # L20_0
harwin_gecko_g125_mvx120.add(gdstk.FlexPath([(8150,-1075),(8150,-875)], 149.998, ends="flush", simple_path=True, layer=20, datatype=0))  # L20_0
harwin_gecko_g125_mvx120.add(gdstk.FlexPath([(7150,2125),(7150,2125)], 149.998, ends="flush", simple_path=True, layer=20, datatype=0))  # L20_0
harwin_gecko_g125_mvx120.add(gdstk.FlexPath([(8150,2125),(7150,2125)], 149.998, ends="flush", simple_path=True, layer=20, datatype=0))  # L20_0
harwin_gecko_g125_mvx120.add(gdstk.FlexPath([(8150,2325),(8150,2125)], 149.998, ends="flush", simple_path=True, layer=20, datatype=0))  # L20_0
harwin_gecko_g125_mvx120.add(gdstk.FlexPath([(-900,2125),(-900,2125)], 149.998, ends="flush", simple_path=True, layer=20, datatype=0))  # L20_0
harwin_gecko_g125_mvx120.add(gdstk.FlexPath([(-1900,2125),(-900,2125)], 149.998, ends="flush", simple_path=True, layer=20, datatype=0))  # L20_0
harwin_gecko_g125_mvx120.add(gdstk.FlexPath([(-1900,2325),(-1900,2125)], 149.998, ends="flush", simple_path=True, layer=20, datatype=0))  # L20_0
harwin_gecko_g125_mvx120.add(gdstk.FlexPath([(3750,2375),(6900,2375)], 149.998, ends="flush", simple_path=True, layer=20, datatype=0))  # L20_0
harwin_gecko_g125_mvx120.add(gdstk.FlexPath([(3750,2675),(3750,2375)], 149.998, ends="flush", simple_path=True, layer=20, datatype=0))  # L20_0
harwin_gecko_g125_mvx120.add(gdstk.FlexPath([(2500,2675),(3750,2675)], 149.998, ends="flush", simple_path=True, layer=20, datatype=0))  # L20_0
harwin_gecko_g125_mvx120.add(gdstk.FlexPath([(2500,2375),(2500,2675)], 149.998, ends="flush", simple_path=True, layer=20, datatype=0))  # L20_0
harwin_gecko_g125_mvx120.add(gdstk.FlexPath([(-650,2375),(2500,2375)], 149.998, ends="flush", simple_path=True, layer=20, datatype=0))  # L20_0
harwin_gecko_g125_mvx120.add(gdstk.FlexPath([(5900,-1425),(6900,-1425)], 149.998, ends="flush", simple_path=True, layer=20, datatype=0))  # L20_0
harwin_gecko_g125_mvx120.add(gdstk.FlexPath([(5900,-1125),(5900,-1425)], 149.998, ends="flush", simple_path=True, layer=20, datatype=0))  # L20_0
harwin_gecko_g125_mvx120.add(gdstk.FlexPath([(350,-1125),(5900,-1125)], 149.998, ends="flush", simple_path=True, layer=20, datatype=0))  # L20_0
harwin_gecko_g125_mvx120.add(gdstk.FlexPath([(350,-1425),(350,-1125)], 149.998, ends="flush", simple_path=True, layer=20, datatype=0))  # L20_0
harwin_gecko_g125_mvx120.add(gdstk.FlexPath([(-650,-1425),(350,-1425)], 149.998, ends="flush", simple_path=True, layer=20, datatype=0))  # L20_0
harwin_gecko_g125_mvx120.add(gdstk.FlexPath([(-1150,-1825),(7400,-1825)], 149.998, ends="flush", simple_path=True, layer=20, datatype=0))  # L20_0
harwin_gecko_g125_mvx120.add(gdstk.FlexPath([(-1150,3075),(7400,3075)], 149.998, ends="flush", simple_path=True, layer=20, datatype=0))  # L20_0
harwin_gecko_g125_mvx120.add(gdstk.FlexPath([(-900,-1175),(-891.481,-1239.705),(-866.506,-1300),(-826.777,-1351.777),(-775,-1391.506),(-714.705,-1416.481),(-650,-1425)], 149.998, ends="flush", simple_path=True, layer=20, datatype=0))  # L20_0
harwin_gecko_g125_mvx120.add(gdstk.FlexPath([(6900,-1425),(6964.705,-1416.481),(7025,-1391.506),(7076.777,-1351.777),(7116.506,-1300),(7141.481,-1239.705),(7150,-1175)], 149.998, ends="flush", simple_path=True, layer=20, datatype=0))  # L20_0
harwin_gecko_g125_mvx120.add(gdstk.FlexPath([(7150,2125),(7141.481,2189.705),(7116.506,2250),(7076.777,2301.777),(7025,2341.506),(6964.705,2366.481),(6900,2375)], 149.998, ends="flush", simple_path=True, layer=20, datatype=0))  # L20_0
harwin_gecko_g125_mvx120.add(gdstk.FlexPath([(-650,2375),(-714.705,2366.481),(-775,2341.506),(-826.777,2301.777),(-866.506,2250),(-891.481,2189.705),(-900,2125)], 149.998, ends="flush", simple_path=True, layer=20, datatype=0))  # L20_0
harwin_gecko_g125_mvx120.add(gdstk.FlexPath([(-1900,-1075),(-1874.444,-1269.114),(-1799.519,-1450),(-1680.33,-1605.33),(-1525,-1724.519),(-1344.114,-1799.444),(-1150,-1825)], 149.998, ends="flush", simple_path=True, layer=20, datatype=0))  # L20_0
harwin_gecko_g125_mvx120.add(gdstk.FlexPath([(7400,-1825),(7594.114,-1799.444),(7775,-1724.519),(7930.33,-1605.33),(8049.519,-1450),(8124.444,-1269.114),(8150,-1075)], 149.998, ends="flush", simple_path=True, layer=20, datatype=0))  # L20_0
harwin_gecko_g125_mvx120.add(gdstk.FlexPath([(8150,2325),(8124.444,2519.114),(8049.519,2700),(7930.33,2855.33),(7775,2974.519),(7594.114,3049.444),(7400,3075)], 149.998, ends="flush", simple_path=True, layer=20, datatype=0))  # L20_0
harwin_gecko_g125_mvx120.add(gdstk.FlexPath([(-1150,3075),(-1344.114,3049.444),(-1525,2974.519),(-1680.33,2855.33),(-1799.519,2700),(-1874.444,2519.114),(-1900,2325)], 149.998, ends="flush", simple_path=True, layer=20, datatype=0))  # L20_0
harwin_gecko_g125_mvx120.add(gdstk.Label('Connectors_Harwin.3dshapes/Harwin_Gecko-G125-MVX1205L1X_2x06x1.25mm_Straight.wrl', (0,0), layer=12, texttype=0))
harwin_gecko_g125_mvx120.add(gdstk.Label('12', (6250,1250), layer=28, texttype=0))
harwin_gecko_g125_mvx120.add(gdstk.Label('10', (5000,1250), layer=28, texttype=0))
harwin_gecko_g125_mvx120.add(gdstk.Label('8', (3750,1250), layer=28, texttype=0))
harwin_gecko_g125_mvx120.add(gdstk.Label('6', (2500,1250), layer=28, texttype=0))
harwin_gecko_g125_mvx120.add(gdstk.Label('4', (1250,1250), layer=28, texttype=0))
harwin_gecko_g125_mvx120.add(gdstk.Label('2', (0,1250), layer=28, texttype=0))
harwin_gecko_g125_mvx120.add(gdstk.Label('11', (6250,0), layer=28, texttype=0))
harwin_gecko_g125_mvx120.add(gdstk.Label('9', (5000,0), layer=28, texttype=0))
harwin_gecko_g125_mvx120.add(gdstk.Label('7', (3750,0), layer=28, texttype=0))
harwin_gecko_g125_mvx120.add(gdstk.Label('5', (2500,0), layer=28, texttype=0))
harwin_gecko_g125_mvx120.add(gdstk.Label('3', (1250,0), layer=28, texttype=0))
harwin_gecko_g125_mvx120.add(gdstk.Label('1', (0,0), layer=28, texttype=0))
harwin_gecko_g125_mvx120.add(gdstk.Label('type', (3125,4300), layer=9, texttype=0))
harwin_gecko_g125_mvx120.add(gdstk.Label('devicename', (3125,-3500), layer=9, texttype=0))

lib.write_gds('Harwin_Gecko-G125-MVX1205L1X_2x06x1.25mm_Straight.gds')
